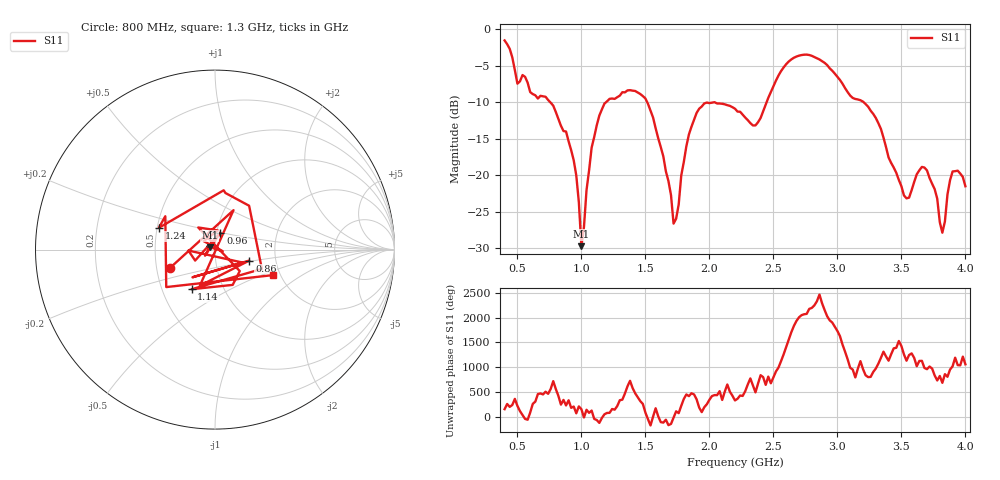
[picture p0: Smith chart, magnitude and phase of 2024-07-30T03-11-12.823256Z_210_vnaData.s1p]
!Created with skrf (http://scikit-rf.org).
# Hz S RI R 50.0
!freq ReS11 ImS11
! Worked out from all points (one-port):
!   181 points, 400 MHz to 4 GHz, reference 50 ohm
!   lowest |S11| = -29.7 dB at 1 GHz (marker M1), VSWR 1.07, Z = 47.1 + j1.31 ohm
!   |S11| at or under -10 dB: 756.9 MHz to 1.192 GHz (435.1 MHz wide, 44.7 % of centre); 1.514 GHz to 2.036 GHz (521.9 MHz wide, 29.4 % of centre); 3.205 GHz to end of sweep (the widest 3 of 4)
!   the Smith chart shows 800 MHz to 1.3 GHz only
!   S11 on the Smith chart (normalised r, x): 800 MHz: 0.59, -0.13; 860 MHz: 1.46, -0.19; 960 MHz: 1.04, +0.20; 1.14 GHz: 0.70, -0.33; 1.24 GHz: 0.51, +0.14; 1.3 GHz: 1.82, -0.59
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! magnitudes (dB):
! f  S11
! 400 MHz  -1.5
! 500 MHz  -7.4
! 800 MHz  -11.3
! 860 MHz  -13.9
! 960 MHz  -20.0
! 1 GHz  -29.7
! 1.08 GHz  -16.2
! 1.14 GHz  -11.8
! 1.24 GHz  -9.5
! 1.3 GHz  -9.1
! 1.5 GHz  -9.5
! 1.64 GHz  -17.4
! 1.72 GHz  -26.7
! 1.76 GHz  -24.0
! 1.82 GHz  -16.0
! 1.9 GHz  -11.5
! 2.2 GHz  -10.9
! 2.36 GHz  -13.2
! 2.66 GHz  -3.9
! 2.9 GHz  -4.6
! 3.1 GHz  -9.1
! 3.3 GHz  -12.2
! 3.56 GHz  -23.1
! 3.68 GHz  -19.0
! 3.76 GHz  -21.9
! 3.82 GHz  -27.9
! 3.9 GHz  -19.5
! 4 GHz  -21.5
